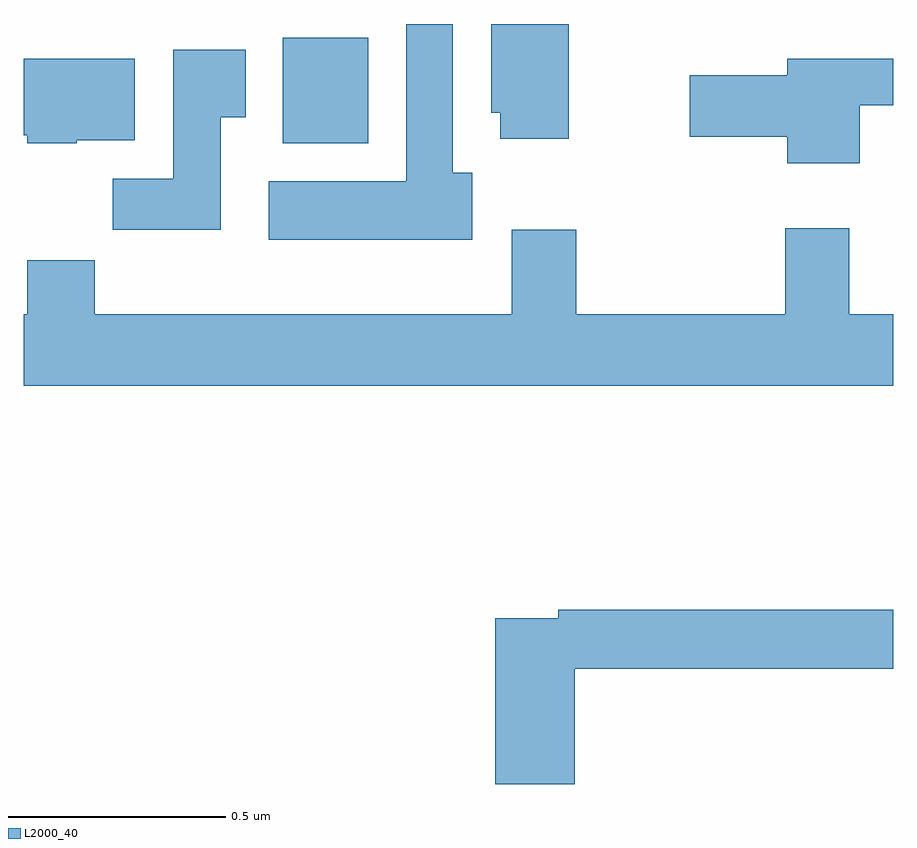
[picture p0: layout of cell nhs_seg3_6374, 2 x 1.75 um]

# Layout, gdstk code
import gdstk
lib = gdstk.Library(unit=1e-6, precision=1e-09)
def R(c, l, rs):  # rectangles x0, y0, x1, y1
    for r in rs: c.add(gdstk.rectangle(r[:2], r[2:], *l))
def P(c, l, *ps):  # polygons
    for p in ps: c.add(gdstk.Polygon(p, *l))
L2000_40 = (2000, 40)

nhs_seg3_6374 = lib.new_cell('nhs_seg3_6374')
R(nhs_seg3_6374, L2000_40, [(190.595,716.126,190.792,716.368)])
P(nhs_seg3_6374, L2000_40, [(191.254,716.4),(191.075,716.4),(191.075,716.196),(191.096,716.196),(191.096,716.136),(191.254,716.136)],
  [(191.032,716.058),(190.987,716.058),(190.987,716.4),(190.88,716.4),(190.88,716.038),(190.563,716.038),(190.563,715.904),(191.032,715.904)],
  [(190.453,716.185),(190.51,716.185),(190.51,716.341),(190.343,716.341),(190.343,716.044),(190.204,716.044),(190.204,715.926),(190.453,715.926)],
  [(191.923,716.213),(192,716.213),(192,716.32),(191.756,716.32),(191.756,716.282),(191.532,716.282),(191.532,716.14),(191.756,716.14),(191.756,716.079),(191.923,716.079)],
  [(190.122,716.132),(190.255,716.132),(190.255,716.32),(190,716.32),(190,716.144),(190.008,716.144),(190.008,716.126),(190.122,716.126)],
  [(192,715.732),(191.899,715.732),(191.899,715.93),(191.752,715.93),(191.752,715.732),(191.271,715.732),(191.271,715.927),(191.123,715.927),(191.123,715.732),(190.163,715.732),(190.163,715.856),(190.007,715.856),(190.007,715.732),(190,715.732),(190,715.568),(192,715.568)],
  [(191.267,714.916),(192,714.916),(192,715.052),(191.23,715.052),(191.23,715.032),(191.084,715.032),(191.084,714.651),(191.267,714.651)])

lib.write_gds('nhs_seg3_6374.gds')
